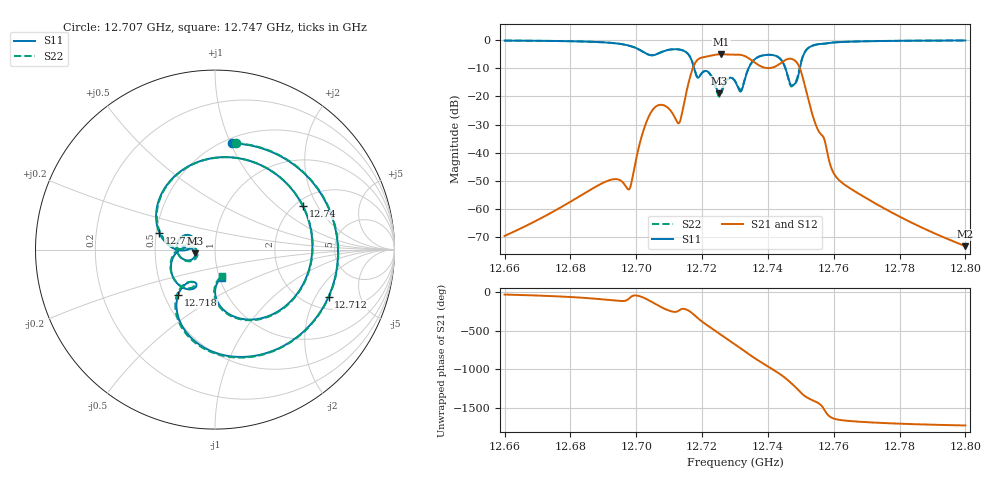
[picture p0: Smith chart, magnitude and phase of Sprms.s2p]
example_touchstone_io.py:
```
"""
Пример демонстрации класса TouchstoneFile:
- Загрузка S-параметров из файла Sprms.s2p
- Просмотр метаинформации
- Преобразование формата данных
- Визуализация
- Сохранение в новом формате
"""

from mwlab.touchstone import TouchstoneFile
import matplotlib.pyplot as plt

# Загрузка Touchstone-файла
ts = TouchstoneFile.load("Sprms.s2p")

# Вывод основной информации
print(f"Частотных точек: {ts.n_freqs}")
print(f"Число портов: {ts.n_ports}")
print(f"Формат данных: {ts.format}")
print(f"Единицы частоты: {ts.unit}")
print(f"Импеданс: {ts.impedance} Ом")

# Визуализация S11, S21
ts.plot_s_db("S11")
ts.plot_s_db("S21")
ts.plot_s_db("S22")

#x = ts.freq
#y = ts.s[:,1,1]

#plt.plot(x, abs(y))
#plt.grid(True)
#plt.show()

# Преобразование в формат dB+angle
ts_db = ts.to_format("DB")

# Сохранение преобразованного файла
ts_db.save("Sprms_db_format.s2p", format="DB", unit="MHZ")
print("Файл сохранён как Sprms_db_format.s2p в формате DB (MHz)")
```
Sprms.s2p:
! TOUCHSTONE file generated by CST MICROWAVE STUDIO
! Date and time: Wed Jul 31 10:34:30 2024
! Project name: WaveGuide_BPF-Ver4.1_U-shape_Ku_T3_C4_CWA_2.cst
! Parameters = {cavity_h=16; cavity_l0=10; cavity_l1=15.2223; cavity_l2=16.8534; cavity_l3=17.1243; cavity_l4=17.257; cavity_l5=17.1229; cavity_l6=17.5688; cavity_r=2.5; cavity_screw_l=0.5; cavity_screw_r=1.5; cavity_w=8; iris_h00=0; iris_h01=8.8082; iris_h112=0; iris_h12=5.6076; iris_h211=3.6561; i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
! Header version: 2018
! Port assignment regex: !\s*Touchstone port\s*([0-9]+)\s*=\s*(CST MWS port|CST DS port)\s*([0-9]+|Zmin|Zmax)\s*\(\"(.*)\"\)(\s*mode\s*([0-9]+))?.*
! Touchstone port assignment:
! Touchstone port 1 = CST MWS port 1 ("")
! Touchstone port 2 = CST MWS port 2 ("")
# GHz S RI R 50
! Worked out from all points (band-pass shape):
!   5001 points, 12.66 GHz to 12.8 GHz, reference 50 ohm
!   highest |S21| = -5.06 dB at 12.726 GHz (marker M1); lowest = -73.2 dB at 12.8 GHz (marker M2)
!   |S21| within 3 dB of the highest: 12.71794 GHz to 12.73605 GHz (18.11 MHz wide, 0.142 % of centre); 12.74409 GHz to 12.74884 GHz (4.746 MHz wide, 0.0372 % of centre)
!   lowest |S11| = -19.0 dB at 12.725 GHz (marker M3), VSWR 1.25, Z = 40 - j1.65 ohm
!   |S11| at or under -10 dB: 12.71758 GHz to 12.73415 GHz (16.56 MHz wide, 0.13 % of centre); 12.74532 GHz to 12.7497 GHz (4.385 MHz wide, 0.0344 % of centre)
!   |S22| runs from -20.1 to -0.2 dB; largest |S21 - S12| = 1e-09
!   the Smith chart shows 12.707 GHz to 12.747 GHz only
!   S11 on the Smith chart (normalised r, x): 12.707 GHz: 0.55, +1.01; 12.712 GHz: 2.61, -2.58; 12.718 GHz: 0.59, -0.33; 12.734 GHz: 0.52, +0.11; 12.74 GHz: 2.20, +1.52; 12.747 GHz: 1.02, -0.33
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12.66  0.3836 0.8997  0.000296 -0.000154  0.000296 -0.000154  0.3884 0.8976
12.70738  0.0921 0.5921  -0.0704 0.00855  -0.0704 0.00855  0.116 0.5933
12.71236  0.633 -0.262  -0.0129 0.033  -0.0129 0.033  0.6294 -0.2746
12.71751  -0.2058 -0.254  0.1113 0.3342  0.1113 0.3342  -0.2128 -0.2545
12.72524  -0.1108 -0.0204  -0.5556 -0.0467  -0.5556 -0.0467  -0.0973 -0.017
12.7258  -0.1155 -0.043  -0.5467 0.1143  -0.5467 0.1143  -0.1026 -0.0434
12.73  -0.1678 0.0802  0.3735 0.4062  0.3735 0.4062  -0.1728 0.0745
12.73423  -0.3102 0.0939  0.0688 -0.4666  0.0688 -0.4666  -0.31 0.1062
12.74016  0.49 0.2414  -0.1362 0.2865  -0.1362 0.2865  0.4969 0.2293
12.74691  0.0366 -0.1569  -0.00229 -0.4655  -0.00229 -0.4655  0.0379 -0.149
12.8  -0.9292 0.3198  6.07e-05 0.000211  6.07e-05 0.000211  -0.9271 0.326
